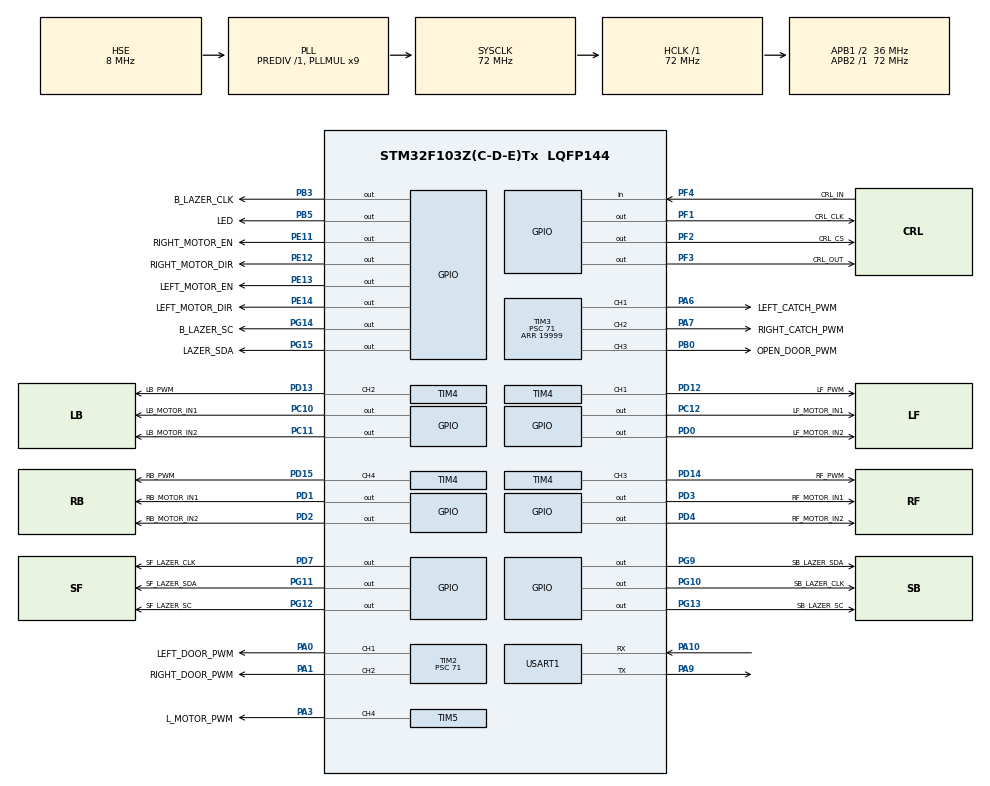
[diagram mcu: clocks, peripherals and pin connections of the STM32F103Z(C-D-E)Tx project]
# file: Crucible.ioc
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Mcu.Family=STM32F1
Mcu.Name=STM32F103Z(C-D-E)Tx
Mcu.Package=LQFP144
NVIC.PriorityGroup=NVIC_PRIORITYGROUP_4
NVIC.TIM5_IRQn=true\:0\:0\:false\:false\:true\:true\:true
OSC_IN.Mode=HSE-External-Oscillator
OSC_IN.Signal=RCC_OSC_IN
OSC_OUT.Mode=HSE-External-Oscillator
OSC_OUT.Signal=RCC_OSC_OUT
PA0-WKUP.GPIO_Label=LEFT_DOOR_PWM
PA0-WKUP.GPIO_ModeDefaultPP=GPIO_MODE_AF_PP
PA0-WKUP.GPIO_Speed=GPIO_SPEED_FREQ_HIGH
PA0-WKUP.Signal=S_TIM2_CH1_ETR
PA1.GPIO_Label=RIGHT_DOOR_PWM
PA1.GPIO_ModeDefaultPP=GPIO_MODE_AF_PP
PA1.GPIO_Speed=GPIO_SPEED_FREQ_HIGH
PA1.Signal=S_TIM2_CH2
PA10.Mode=Asynchronous
PA10.Signal=USART1_RX
PA13.Mode=Serial_Wire
PA13.Signal=SYS_JTMS-SWDIO
PA14.Mode=Serial_Wire
PA14.Signal=SYS_JTCK-SWCLK
PA3.GPIO_Label=L_MOTOR_PWM
PA3.GPIO_ModeDefaultPP=GPIO_MODE_AF_PP
PA3.GPIO_Speed=GPIO_SPEED_FREQ_HIGH
PA3.Signal=S_TIM5_CH4
PA6.GPIO_Label=LEFT_CATCH_PWM
PA6.GPIO_ModeDefaultPP=GPIO_MODE_AF_PP
PA6.GPIO_Speed=GPIO_SPEED_FREQ_HIGH
PA6.Signal=S_TIM3_CH1
PA7.GPIO_Label=RIGHT_CATCH_PWM
PA7.GPIO_ModeDefaultPP=GPIO_MODE_AF_PP
PA7.GPIO_Speed=GPIO_SPEED_FREQ_HIGH
PA7.Signal=S_TIM3_CH2
PA9.Mode=Asynchronous
PA9.Signal=USART1_TX
PB0.GPIO_Label=OPEN_DOOR_PWM
PB0.GPIO_ModeDefaultPP=GPIO_MODE_AF_PP
PB0.GPIO_Speed=GPIO_SPEED_FREQ_HIGH
PB0.Signal=S_TIM3_CH3
PB3.GPIO_Label=B_LAZER_CLK
PB3.GPIO_PuPd=GPIO_PULLDOWN
PB3.GPIO_Speed=GPIO_SPEED_FREQ_HIGH
PB3.PinState=GPIO_PIN_SET
PB3.Signal=GPIO_Output
PB5.GPIO_Label=LED
PB5.GPIO_ModeDefaultOutputPP=GPIO_MODE_OUTPUT_PP
PB5.GPIO_PuPd=GPIO_PULLDOWN
PB5.GPIO_Speed=GPIO_SPEED_FREQ_HIGH
PB5.PinState=GPIO_PIN_SET
PB5.Signal=GPIO_Output
PC10.GPIO_Label=LB_MOTOR_IN1
PC10.GPIO_ModeDefaultOutputPP=GPIO_MODE_OUTPUT_PP
PC10.GPIO_PuPd=GPIO_PULLDOWN
PC10.GPIO_Speed=GPIO_SPEED_FREQ_HIGH
PC10.PinState=GPIO_PIN_RESET
PC10.Signal=GPIO_Output
PC11.GPIO_Label=LB_MOTOR_IN2
PC11.GPIO_ModeDefaultOutputPP=GPIO_MODE_OUTPUT_PP
PC11.GPIO_PuPd=GPIO_PULLDOWN
PC11.GPIO_Speed=GPIO_SPEED_FREQ_HIGH
PC11.PinState=GPIO_PIN_RESET
PC11.Signal=GPIO_Output
PC12.GPIO_Label=LF_MOTOR_IN1
PC12.GPIO_ModeDefaultOutputPP=GPIO_MODE_OUTPUT_PP
PC12.GPIO_PuPd=GPIO_PULLDOWN
PC12.GPIO_Speed=GPIO_SPEED_FREQ_HIGH
PC12.PinState=GPIO_PIN_RESET
PC12.Signal=GPIO_Output
PD0.GPIO_Label=LF_MOTOR_IN2
PD0.GPIO_ModeDefaultOutputPP=GPIO_MODE_OUTPUT_PP
PD0.GPIO_PuPd=GPIO_PULLDOWN
PD0.GPIO_Speed=GPIO_SPEED_FREQ_HIGH
PD0.PinState=GPIO_PIN_RESET
PD0.Signal=GPIO_Output
PD1.GPIO_Label=RB_MOTOR_IN1
PD1.GPIO_ModeDefaultOutputPP=GPIO_MODE_OUTPUT_PP
PD1.GPIO_PuPd=GPIO_PULLDOWN
PD1.GPIO_Speed=GPIO_SPEED_FREQ_HIGH
PD1.PinState=GPIO_PIN_RESET
PD1.Signal=GPIO_Output
PD12.GPIO_Label=LF_PWM
PD12.GPIO_ModeDefaultPP=GPIO_MODE_AF_PP
PD12.GPIO_Speed=GPIO_SPEED_FREQ_HIGH
PD12.Signal=S_TIM4_CH1
PD13.GPIO_Label=LB_PWM
PD13.GPIO_ModeDefaultPP=GPIO_MODE_AF_PP
PD13.GPIO_Speed=GPIO_SPEED_FREQ_HIGH
PD13.Signal=S_TIM4_CH2
PD14.GPIO_Label=RF_PWM
PD14.GPIO_ModeDefaultPP=GPIO_MODE_AF_PP
PD14.GPIO_Speed=GPIO_SPEED_FREQ_HIGH
PD14.Signal=S_TIM4_CH3
PD15.GPIO_Label=RB_PWM
PD15.GPIO_ModeDefaultPP=GPIO_MODE_AF_PP
PD15.GPIO_Speed=GPIO_SPEED_FREQ_HIGH
PD15.Signal=S_TIM4_CH4
PD2.GPIO_Label=RB_MOTOR_IN2
PD2.GPIO_ModeDefaultOutputPP=GPIO_MODE_OUTPUT_PP
PD2.GPIO_PuPd=GPIO_PULLDOWN
PD2.GPIO_Speed=GPIO_SPEED_FREQ_HIGH
PD2.PinState=GPIO_PIN_RESET
PD2.Signal=GPIO_Output
PD3.GPIO_Label=RF_MOTOR_IN1
PD3.GPIO_ModeDefaultOutputPP=GPIO_MODE_OUTPUT_PP
PD3.GPIO_PuPd=GPIO_PULLDOWN
PD3.GPIO_Speed=GPIO_SPEED_FREQ_HIGH
PD3.PinState=GPIO_PIN_RESET
PD3.Signal=GPIO_Output
PD4.GPIO_Label=RF_MOTOR_IN2
PD4.GPIO_ModeDefaultOutputPP=GPIO_MODE_OUTPUT_PP
PD4.GPIO_PuPd=GPIO_PULLDOWN
PD4.GPIO_Speed=GPIO_SPEED_FREQ_HIGH
PD4.PinState=GPIO_PIN_RESET
PD4.Signal=GPIO_Output
PD7.GPIO_Label=SF_LAZER_CLK
PD7.GPIO_PuPd=GPIO_PULLDOWN
PD7.GPIO_Speed=GPIO_SPEED_FREQ_HIGH
PD7.Signal=GPIO_Output
PE11.GPIO_Label=RIGHT_MOTOR_EN
PE11.GPIO_ModeDefaultOutputPP=GPIO_MODE_OUTPUT_PP
PE11.GPIO_PuPd=GPIO_PULLDOWN
PE11.GPIO_Speed=GPIO_SPEED_FREQ_HIGH
PE11.PinState=GPIO_PIN_RESET
PE11.Signal=GPIO_Output
PE12.GPIO_Label=RIGHT_MOTOR_DIR
PE12.GPIO_ModeDefaultOutputPP=GPIO_MODE_OUTPUT_PP
PE12.GPIO_PuPd=GPIO_PULLDOWN
PE12.GPIO_Speed=GPIO_SPEED_FREQ_HIGH
PE12.PinState=GPIO_PIN_RESET
PE12.Signal=GPIO_Output
PE13.GPIO_Label=LEFT_MOTOR_EN
PE13.GPIO_ModeDefaultOutputPP=GPIO_MODE_OUTPUT_PP
PE13.GPIO_PuPd=GPIO_PULLDOWN
PE13.GPIO_Speed=GPIO_SPEED_FREQ_HIGH
PE13.PinState=GPIO_PIN_RESET
PE13.Signal=GPIO_Output
PE14.GPIO_Label=LEFT_MOTOR_DIR
PE14.GPIO_PuPd=GPIO_PULLDOWN
PE14.GPIO_Speed=GPIO_SPEED_FREQ_HIGH
PE14.Signal=GPIO_Output
PF1.GPIO_Label=CRL_CLK
PF1.GPIO_ModeDefaultOutputPP=GPIO_MODE_OUTPUT_PP
PF1.GPIO_PuPd=GPIO_PULLDOWN
PF1.GPIO_Speed=GPIO_SPEED_FREQ_HIGH
PF1.PinState=GPIO_PIN_RESET
PF1.Signal=GPIO_Output
PF2.GPIO_Label=CRL_CS
PF2.GPIO_ModeDefaultOutputPP=GPIO_MODE_OUTPUT_PP
PF2.GPIO_PuPd=GPIO_PULLDOWN
PF2.GPIO_Speed=GPIO_SPEED_FREQ_HIGH
PF2.PinState=GPIO_PIN_RESET
PF2.Signal=GPIO_Output
PF3.GPIO_Label=CRL_OUT
PF3.GPIO_ModeDefaultOutputPP=GPIO_MODE_OUTPUT_PP
PF3.GPIO_PuPd=GPIO_PULLDOWN
PF3.GPIO_Speed=GPIO_SPEED_FREQ_HIGH
PF3.PinState=GPIO_PIN_RESET
PF3.Signal=GPIO_Output
PF4.GPIO_Label=CRL_IN
PF4.GPIO_PuPd=GPIO_PULLDOWN
PF4.Signal=GPIO_Input
PG10.GPIO_Label=SB_LAZER_CLK
PG10.GPIO_PuPd=GPIO_PULLDOWN
PG10.GPIO_Speed=GPIO_SPEED_FREQ_HIGH
PG10.Signal=GPIO_Output
PG11.GPIO_Label=SF_LAZER_SDA
PG11.GPIO_PuPd=GPIO_PULLDOWN
PG11.GPIO_Speed=GPIO_SPEED_FREQ_HIGH
PG11.Signal=GPIO_Output
PG12.GPIO_Label=SF_LAZER_SC
PG12.GPIO_PuPd=GPIO_PULLDOWN
PG12.GPIO_Speed=GPIO_SPEED_FREQ_HIGH
PG12.PinState=GPIO_PIN_RESET
PG12.Signal=GPIO_Output
PG13.GPIO_Label=SB_LAZER_SC
PG13.GPIO_PuPd=GPIO_PULLDOWN
PG13.GPIO_Speed=GPIO_SPEED_FREQ_HIGH
PG13.PinState=GPIO_PIN_RESET
PG13.Signal=GPIO_Output
PG14.GPIO_Label=B_LAZER_SC
PG14.GPIO_PuPd=GPIO_PULLDOWN
PG14.GPIO_Speed=GPIO_SPEED_FREQ_HIGH
PG14.PinState=GPIO_PIN_RESET
PG14.Signal=GPIO_Output
PG15.GPIO_Label=LAZER_SDA
PG15.GPIO_ModeDefaultOutputPP=GPIO_MODE_OUTPUT_PP
PG15.GPIO_PuPd=GPIO_PULLDOWN
PG15.GPIO_Speed=GPIO_SPEED_FREQ_HIGH
PG15.PinState=GPIO_PIN_RESET
PG15.Signal=GPIO_Output
PG9.GPIO_Label=SB_LAZER_SDA
PG9.GPIO_PuPd=GPIO_PULLDOWN
PG9.GPIO_Speed=GPIO_SPEED_FREQ_HIGH
PG9.Signal=GPIO_Output
ProjectManager.HeapSize=0x200
ProjectManager.StackSize=0x400
ProjectManager.TargetToolchain=MDK-ARM V5
RCC.AHBFreq_Value=72000000
RCC.APB1CLKDivider=RCC_HCLK_DIV2
RCC.APB1Freq_Value=36000000
RCC.APB1TimFreq_Value=72000000
RCC.APB2Freq_Value=72000000
RCC.APB2TimFreq_Value=72000000
RCC.HCLKFreq_Value=72000000
RCC.PLLMUL=RCC_PLL_MUL9
RCC.PLLSourceVirtual=RCC_PLLSOURCE_HSE
RCC.SYSCLKFreq_VALUE=72000000
RCC.SYSCLKSource=RCC_SYSCLKSOURCE_PLLCLK
RCC.USBFreq_Value=72000000
SH.S_TIM2_CH1_ETR.0=TIM2_CH1,PWM Generation1 CH1
SH.S_TIM2_CH2.0=TIM2_CH2,PWM Generation2 CH2
SH.S_TIM3_CH1.0=TIM3_CH1,PWM Generation1 CH1
SH.S_TIM3_CH2.0=TIM3_CH2,PWM Generation2 CH2
SH.S_TIM3_CH3.0=TIM3_CH3,PWM Generation3 CH3
SH.S_TIM4_CH1.0=TIM4_CH1,PWM Generation1 CH1
SH.S_TIM4_CH2.0=TIM4_CH2,PWM Generation2 CH2
SH.S_TIM4_CH3.0=TIM4_CH3,PWM Generation3 CH3
SH.S_TIM4_CH4.0=TIM4_CH4,PWM Generation4 CH4
SH.S_TIM5_CH4.0=TIM5_CH4,PWM Generation4 CH4
TIM2.Channel-PWM\ Generation1\ CH1=TIM_CHANNEL_1
TIM2.Channel-PWM\ Generation2\ CH2=TIM_CHANNEL_2
TIM2.Period=19999
TIM2.Prescaler=71
TIM2.Pulse-PWM\ Generation1\ CH1=1000
TIM2.Pulse-PWM\ Generation2\ CH2=1000
TIM3.Channel-PWM\ Generation1\ CH1=TIM_CHANNEL_1
TIM3.Channel-PWM\ Generation2\ CH2=TIM_CHANNEL_2
TIM3.Channel-PWM\ Generation3\ CH3=TIM_CHANNEL_3
TIM3.Period=19999
TIM3.Prescaler=71
TIM3.Pulse-PWM\ Generation1\ CH1=1000
TIM3.Pulse-PWM\ Generation2\ CH2=1000
TIM3.Pulse-PWM\ Generation3\ CH3=950
TIM4.Channel-PWM\ Generation1\ CH1=TIM_CHANNEL_1
TIM4.Channel-PWM\ Generation2\ CH2=TIM_CHANNEL_2
TIM4.Channel-PWM\ Generation3\ CH3=TIM_CHANNEL_3
TIM4.Channel-PWM\ Generation4\ CH4=TIM_CHANNEL_4
TIM4.Period=4999
TIM4.Prescaler=71
TIM4.Pulse-PWM\ Generation1\ CH1=4999
TIM4.Pulse-PWM\ Generation2\ CH2=4999
TIM4.Pulse-PWM\ Generation3\ CH3=4999
TIM4.Pulse-PWM\ Generation4\ CH4=4999
TIM5.Channel-PWM\ Generation4\ CH4=TIM_CHANNEL_4
TIM5.Period=9
TIM5.Prescaler=71
TIM5.Pulse-PWM\ Generation4\ CH4=5
USART1.VirtualMode=VM_ASYNC
board=custom

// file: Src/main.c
/* USER CODE BEGIN Header */
/**
  ******************************************************************************
  * @file           : main.c
  * @brief          : Main program body
  ******************************************************************************
  * @attention
  *
  * <h2><center>&copy; Copyright (c) 2020 STMicroelectronics.
  * All rights reserved.</center></h2>
  *
  * This software component is licensed by ST under BSD 3-Clause license,
  * the "License"; You may not use this file except in compliance with the
  * License. You may obtain a copy of the License at:
  *                        opensource.org/licenses/BSD-3-Clause
  *
  ******************************************************************************
  */
/* USER CODE END Header */

#include "main.h"
#include "tim.h"
#include "usart.h"
#include "gpio.h"

/* USER CODE BEGIN Includes */
#include "vl53l0x.h"
#include "vl53l0x_gen.h"
#include "motor_B.h"
#include "motor_D.h"
#include "motor.h"
#include "ps2.h"
#include "other_functions.h"
#include "lcg_functions.h"
#include "zbw_functions.h"
/* USER CODE END Includes */

/* USER CODE BEGIN PTD */
extern VL53L0X_RangingMeasurementData_t RangingMeasurementData;
/* USER CODE END PTD */

void SystemClock_Config(void);

int main(void)
{

  /* MCU Configuration--------------------------------------------------------*/

  /* Reset of all peripherals, Initializes the Flash interface and the Systick. */
  HAL_Init();

  /* Configure the system clock */
  SystemClock_Config();

  /* Initialize all configured peripherals */
  MX_GPIO_Init();
  MX_USART1_UART_Init();
  MX_TIM3_Init();
  MX_TIM4_Init();
  MX_TIM5_Init();
  MX_TIM2_Init();
  /* USER CODE BEGIN 2 */
  uint8_t POLE_RX=0;
  uint8_t POLE_RY=0;
  uint8_t POLE_LX=0;
  uint8_t POLE_LY=0;
  B_LAZER_Xshut=0;
  SB_LAZER_Xshut=0;
  SF_LAZER_Xshut=0;
  HAL_TIM_Base_Start_IT(&htim4);
  HAL_TIM_Base_Start_IT(&htim3);
  HAL_TIM_PWM_Start(&htim3,TIM_CHANNEL_1);
  HAL_TIM_PWM_Start(&htim3,TIM_CHANNEL_2);
  HAL_TIM_PWM_Start(&htim3,TIM_CHANNEL_3);
  HAL_TIM_PWM_Start(&htim4,TIM_CHANNEL_1);
  HAL_TIM_PWM_Start(&htim4,TIM_CHANNEL_2);
  HAL_TIM_PWM_Start(&htim4,TIM_CHANNEL_3);
  HAL_TIM_PWM_Start(&htim4,TIM_CHANNEL_4);
  B_LAZER_Xshut=0;
  SB_LAZER_Xshut=0;
  SF_LAZER_Xshut=0;
//  vl53l0x_init(&vl53l0x_dev0,0);
//  vl53l0x_init(&vl53l0x_dev1,1);
//  vl53l0x_init(&vl53l0x_dev2,2);
//  MOTER_MOVE(30000, 1000, 1000, 1000);
  /* USER CODE END 2 */

  /* Infinite loop */
  /* USER CODE BEGIN WHILE */
  while (1)
  {
	  /***遥控按键·***/
	  switch(PS2_DataKey())
	  {
		  case PSB_SELECT:
			  printf("1");
			  break;
		  case PSB_L3:
			  break;
		  case PSB_R3:
			  printf("3");
			  break;
		  case PSB_START:
			  printf("4");
			  break;
		  case PSB_PAD_UP:
			  MOTER_MOVE(11000, 1000, 1000, 1000);
			  printf("5");
			  break;
		  case PSB_PAD_RIGHT:
			  catch_fk();
			  printf("6");
			  break;
		  case PSB_PAD_DOWN:
			  MOTER_MOVE(-11000, 1000, 1000, 1000);
			  printf("7");
			  break;
		  case PSB_PAD_LEFT:
			  printf("8");
			  release_fk();
			  break;
		  case PSB_L2:
			  printf("9");
			  catch_2();
			  break;
		  case PSB_R2:
			  printf("10");
			  release_2();
			  break;
		  case PSB_L1:
			  printf("11");
			  catch_1();
			  break;
		  case PSB_R1:
			  printf("12");
			  release_1();
			  break;
		  case PSB_GREEN:
			  open_door();
			  printf("13");
			  break;
		  case PSB_RED:
//			  vl53l0x_general_start(&vl53l0x_dev2,Default_Mode);
			  vl53l0x_general_start(&vl53l0x_dev1,Default_Mode);
//		      vl53l0x_general_start(&vl53l0x_dev0,Default_Mode);
			  break;
		  case PSB_BLUE:
			  close_door();
			  printf("15");
			  break;
		  case PSB_PINK:

			  break;
		  case 0:
			  POLE_RX=PS2_AnologData(PSS_RX);
			  POLE_RY=PS2_AnologData(PSS_RY);
			  POLE_LX=PS2_AnologData(PSS_LX);
			  POLE_LY=PS2_AnologData(PSS_LY);
			  if(POLE_LX != 128||POLE_LY != 128||POLE_RX != 128 ||POLE_RY != 128)
			  {
				if(POLE_LX>=64&&POLE_LX<=191&&POLE_LY>178)
				{
					move_backward();
					printf("后");
				}
				else if(POLE_LX>=64&&POLE_LX<=191&&POLE_LY<50)
				{
					move_forward();
					printf("前");
				}
				else if(POLE_LY>=64&&POLE_LY<=191&&POLE_LX<50)
				{
					move_left();
					printf("左");
				}
				else if(POLE_LY>=64&&POLE_LY<=191&&POLE_LX>178)
				{
					move_right();
					printf("右");
				}
				else if(POLE_RY>=64&&POLE_RY<=191&&POLE_RX>178)
				{
					move_Scircle();
					printf("右转");
				}
				else if(POLE_RY>=64&&POLE_RY<=191&&POLE_RX<50)
				{
					move_Ncircle();
					printf("左转");
				}
				else
				{
					stop();
				}
			  }
			  break;
		  }
	  stepPosition=0;

    /* USER CODE END WHILE */

  }
}

void SystemClock_Config(void)
{
  RCC_OscInitTypeDef RCC_OscInitStruct = {0};
  RCC_ClkInitTypeDef RCC_ClkInitStruct = {0};

  /** Initializes the CPU, AHB and APB busses clocks
  */
  RCC_OscInitStruct.OscillatorType = RCC_OSCILLATORTYPE_HSE;
  RCC_OscInitStruct.HSEState = RCC_HSE_ON;
  RCC_OscInitStruct.HSEPredivValue = RCC_HSE_PREDIV_DIV1;
  RCC_OscInitStruct.HSIState = RCC_HSI_ON;
  RCC_OscInitStruct.PLL.PLLState = RCC_PLL_ON;
  RCC_OscInitStruct.PLL.PLLSource = RCC_PLLSOURCE_HSE;
  RCC_OscInitStruct.PLL.PLLMUL = RCC_PLL_MUL9;
  if (HAL_RCC_OscConfig(&RCC_OscInitStruct) != HAL_OK)
  {
    Error_Handler();
  }
  /** Initializes the CPU, AHB and APB busses clocks
  */
  RCC_ClkInitStruct.ClockType = RCC_CLOCKTYPE_HCLK|RCC_CLOCKTYPE_SYSCLK
                              |RCC_CLOCKTYPE_PCLK1|RCC_CLOCKTYPE_PCLK2;
  RCC_ClkInitStruct.SYSCLKSource = RCC_SYSCLKSOURCE_PLLCLK;
  RCC_ClkInitStruct.AHBCLKDivider = RCC_SYSCLK_DIV1;
  RCC_ClkInitStruct.APB1CLKDivider = RCC_HCLK_DIV2;
  RCC_ClkInitStruct.APB2CLKDivider = RCC_HCLK_DIV1;

  if (HAL_RCC_ClockConfig(&RCC_ClkInitStruct, FLASH_LATENCY_2) != HAL_OK)
  {
    Error_Handler();
  }
}

void Error_Handler(void)
{
}

/************************ (C) COPYRIGHT STMicroelectronics *****END OF FILE****/
